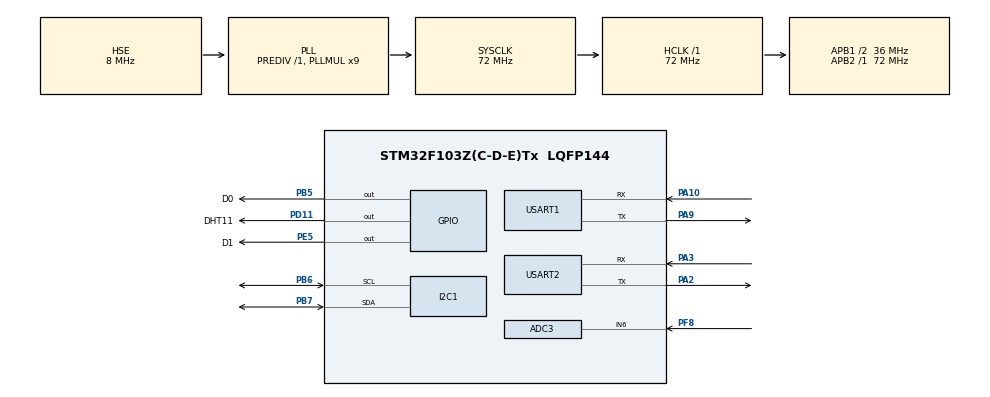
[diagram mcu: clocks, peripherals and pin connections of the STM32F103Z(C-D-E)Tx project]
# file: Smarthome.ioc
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ADC3.Channel-0\#ChannelRegularConversion=ADC_CHANNEL_6
ADC3.NbrOfConversionFlag=1
ADC3.Rank-0\#ChannelRegularConversion=1
ADC3.SamplingTime-0\#ChannelRegularConversion=ADC_SAMPLETIME_1CYCLE_5
Mcu.Family=STM32F1
Mcu.Name=STM32F103Z(C-D-E)Tx
Mcu.Package=LQFP144
NVIC.PriorityGroup=NVIC_PRIORITYGROUP_4
NVIC.USART1_IRQn=true\:0\:0\:false\:false\:true\:true\:true
NVIC.USART2_IRQn=true\:0\:0\:false\:false\:true\:true\:true
OSC_IN.Mode=HSE-External-Oscillator
OSC_IN.Signal=RCC_OSC_IN
OSC_OUT.Mode=HSE-External-Oscillator
OSC_OUT.Signal=RCC_OSC_OUT
PA10.Mode=Asynchronous
PA10.Signal=USART1_RX
PA13.Mode=Serial_Wire
PA13.Signal=SYS_JTMS-SWDIO
PA14.Mode=Serial_Wire
PA14.Signal=SYS_JTCK-SWCLK
PA2.Mode=Asynchronous
PA2.Signal=USART2_TX
PA3.Mode=Asynchronous
PA3.Signal=USART2_RX
PA9.Mode=Asynchronous
PA9.Signal=USART1_TX
PB5.GPIO_Label=D0
PB5.GPIO_PuPd=GPIO_NOPULL
PB5.GPIO_Speed=GPIO_SPEED_FREQ_LOW
PB5.Signal=GPIO_Output
PB6.Mode=I2C
PB6.Signal=I2C1_SCL
PB7.Mode=I2C
PB7.Signal=I2C1_SDA
PD11.GPIO_Label=DHT11
PD11.GPIO_PuPd=GPIO_PULLUP
PD11.GPIO_Speed=GPIO_SPEED_FREQ_HIGH
PD11.Signal=GPIO_Output
PE5.GPIO_Label=D1
PE5.GPIO_PuPd=GPIO_NOPULL
PE5.GPIO_Speed=GPIO_SPEED_FREQ_LOW
PE5.Signal=GPIO_Output
PF8.Mode=IN6
PF8.Signal=ADC3_IN6
ProjectManager.HeapSize=0x200
ProjectManager.StackSize=0x400
ProjectManager.TargetToolchain=MDK-ARM V5.32
RCC.ADCPresc=RCC_ADCPCLK2_DIV6
RCC.AHBFreq_Value=72000000
RCC.APB1CLKDivider=RCC_HCLK_DIV2
RCC.APB1Freq_Value=36000000
RCC.APB1TimFreq_Value=72000000
RCC.APB2Freq_Value=72000000
RCC.APB2TimFreq_Value=72000000
RCC.HCLKFreq_Value=72000000
RCC.PLLMUL=RCC_PLL_MUL9
RCC.PLLSourceVirtual=RCC_PLLSOURCE_HSE
RCC.SYSCLKFreq_VALUE=72000000
RCC.SYSCLKSource=RCC_SYSCLKSOURCE_PLLCLK
RCC.USBFreq_Value=72000000
TIM6.Prescaler=72-1
USART1.VirtualMode=VM_ASYNC
USART2.VirtualMode=VM_ASYNC
VP_TIM6_VS_ClockSourceINT.Mode=Enable_Timer
board=custom

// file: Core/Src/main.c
/* USER CODE BEGIN Header */
/**
  ******************************************************************************
  * @file           : main.c
  * @brief          : Main program body
  ******************************************************************************
  * @attention
  *
  * <h2><center>&copy; Copyright (c) 2022 STMicroelectronics.
  * All rights reserved.</center></h2>
  *
  * This software component is licensed by ST under BSD 3-Clause license,
  * the "License"; You may not use this file except in compliance with the
  * License. You may obtain a copy of the License at:
  *                        opensource.org/licenses/BSD-3-Clause
  *
  ******************************************************************************
  */
/* USER CODE END Header */
#include "main.h"
#include "adc.h"
#include "i2c.h"
#include "tim.h"
#include "usart.h"
#include "gpio.h"

/* USER CODE BEGIN Includes */
#include "stdio.h"

#include "esp8266_at.h"    //ESP8266 AT指令
#include "esp8266_mqtt.h"   //MQTT协议

#include "dht11.h"

#include "oled.h"

#include "lsens.h"

/* USER CODE END Includes */

/* USER CODE BEGIN PD */
#define WIFI_NAME "OPPOA3"
#define WIFI_PASSWD "12345678"

#define MQTT_BROKERADDRESS "a1Y76siqtl8.iot-as-mqtt.cn-shanghai.aliyuncs.com"
#define MQTT_CLIENTID "1234|securemode=3,signmethod=hmacsha1|"
#define MQTT_USARNAME "ship&a1Y76siqtl8"
#define MQTT_PASSWD "99720267EBEB0147B6428348B420B4ABB5B1C75B"

#define MQTT_SUBSCRIBE_TOPIC "/sys/a1Y76siqtl8/ship/thing/service/property/set"

#define	MQTT_PUBLISH_TOPIC "/sys/a1Y76siqtl8/ship/thing/event/property/post"
#define MQTT_EVENT_YOPIC1 "/sys/a1Y76siqtl8/ship/thing/event/HighwaterEvent/post"
#define MQTT_EVENT_YOPIC2 "/sys/a1Y76siqtl8/ship/thing/event/Highmuddy/post"
/* USER CODE END PD */

/* USER CODE BEGIN PM */
uint8_t aRxBuffer; //接收中断缓冲
uint8_t cAlmStr[] = "数据溢出(大于256)\r\n";
uint8_t a[8];

char mqtt_message[300];	//MQTT的上报消息缓存

char lsens[10];
char temp[20];
char humi[20];
char win[30];
char light[10];

/* USER CODE END PM */

void SystemClock_Config(void);
/* USER CODE BEGIN PFP */
extern uint8_t FindStr(char* dest,char* src,uint16_t retry_nms);
/* USER CODE END PFP */

int main(void)
{
  /* USER CODE BEGIN 1 */
  uint16_t temperature;
  uint16_t humidity;

	uint8_t adcx;
  /* USER CODE END 1 */

  /* MCU Configuration--------------------------------------------------------*/

  /* Reset of all peripherals, Initializes the Flash interface and the Systick. */
  HAL_Init();

  /* Configure the system clock */
  SystemClock_Config();

  /* Initialize all configured peripherals */
  MX_GPIO_Init();
  MX_USART1_UART_Init();
  MX_USART2_UART_Init();
  MX_TIM6_Init();
  MX_I2C1_Init();
  MX_ADC3_Init();
  /* USER CODE BEGIN 2 */
  HAL_UART_Receive_IT(&huart2, (uint8_t *)&aRxBuffer, 1);   //再开启接收中断（重要）

	printf("ok\r\n");

  oled_init();
	oled_show_string(24,0,"www",2);
	oled_show_string(0,0,"www",1);

  Lsens_Init(); 						//初始化光敏传感器

	while(DHT11_Init()){
	printf("DHT11 Checked failed!!!\r\n");
	  HAL_Delay(500);
   }
  printf("DHT11 Checked Sucess!!!\r\n");

	while(!ESP8266_Init())      //ESP8266初始化
	{

	}
	while(!ESP8266_ConnectAP(WIFI_NAME,WIFI_PASSWD))             //连接WiFi
	{
	}
  while(ESP8266_ConnectServer("TCP",MQTT_BROKERADDRESS,1883)==0)      //连接阿里云服务器
	{

	}
	MQTT_Connect(MQTT_CLIENTID, MQTT_USARNAME, MQTT_PASSWD);              //连接设备
	while(MQTT_SubscribeTopic(MQTT_SUBSCRIBE_TOPIC,0,1) == 0)             //发送话题
	{

	}
  /* USER CODE END 2 */

  /* Infinite loop */
  while (1)
  {

    /* USER CODE BEGIN 3 */
		HAL_GPIO_TogglePin(D1_GPIO_Port, D1_Pin);
		HAL_Delay(1000);
		DHT11_Read_Data(&temperature,&humidity);
		printf("temperature:%d.%d\r\n",temperature>>8,temperature&0xff);
	  printf("humidity:%d.%d\r\n",humidity>>8,humidity&0xff);
		adcx=Lsens_Get_Val();
		printf("lsens:%d\r\n",adcx);
		oled_full(0x00);
		sprintf(lsens,"lsens:%d",adcx);
		sprintf(temp,"temp:%d.%d",temperature>>8,temperature&0xff);
		sprintf(humi,"humi:%d.%d",humidity>>8,humidity&0xff);
		sprintf(win,"win:%d light:%d",1,0);

		oled_show_string(3,0,lsens,2);//显示ADC的值
		oled_show_string(3,2,temp,2);
		oled_show_string(3,4,humi,2);
		oled_show_string(3,6,win,2);

		sprintf(mqtt_message,"{\"method\":\"thing.event.property.post\",\"id\":\"0\",\"params\":{\"Atmosphere\":%d},\"version\":\"1.0.0\"}",20);
    MQTT_PublishData(MQTT_PUBLISH_TOPIC,mqtt_message,0);
//		printf("test\r\n");
  }
  /* USER CODE END 3 */
}

void SystemClock_Config(void)
{
  RCC_OscInitTypeDef RCC_OscInitStruct = {0};
  RCC_ClkInitTypeDef RCC_ClkInitStruct = {0};
  RCC_PeriphCLKInitTypeDef PeriphClkInit = {0};

  /** Initializes the RCC Oscillators according to the specified parameters
  * in the RCC_OscInitTypeDef structure.
  */
  RCC_OscInitStruct.OscillatorType = RCC_OSCILLATORTYPE_HSE;
  RCC_OscInitStruct.HSEState = RCC_HSE_ON;
  RCC_OscInitStruct.HSEPredivValue = RCC_HSE_PREDIV_DIV1;
  RCC_OscInitStruct.HSIState = RCC_HSI_ON;
  RCC_OscInitStruct.PLL.PLLState = RCC_PLL_ON;
  RCC_OscInitStruct.PLL.PLLSource = RCC_PLLSOURCE_HSE;
  RCC_OscInitStruct.PLL.PLLMUL = RCC_PLL_MUL9;
  if (HAL_RCC_OscConfig(&RCC_OscInitStruct) != HAL_OK)
  {
    Error_Handler();
  }
  /** Initializes the CPU, AHB and APB buses clocks
  */
  RCC_ClkInitStruct.ClockType = RCC_CLOCKTYPE_HCLK|RCC_CLOCKTYPE_SYSCLK
                              |RCC_CLOCKTYPE_PCLK1|RCC_CLOCKTYPE_PCLK2;
  RCC_ClkInitStruct.SYSCLKSource = RCC_SYSCLKSOURCE_PLLCLK;
  RCC_ClkInitStruct.AHBCLKDivider = RCC_SYSCLK_DIV1;
  RCC_ClkInitStruct.APB1CLKDivider = RCC_HCLK_DIV2;
  RCC_ClkInitStruct.APB2CLKDivider = RCC_HCLK_DIV1;

  if (HAL_RCC_ClockConfig(&RCC_ClkInitStruct, FLASH_LATENCY_2) != HAL_OK)
  {
    Error_Handler();
  }
  PeriphClkInit.PeriphClockSelection = RCC_PERIPHCLK_ADC;
  PeriphClkInit.AdcClockSelection = RCC_ADCPCLK2_DIV6;
  if (HAL_RCCEx_PeriphCLKConfig(&PeriphClkInit) != HAL_OK)
  {
    Error_Handler();
  }
}

/* USER CODE BEGIN 4 */
//USART2 ES8266驱动串口接收中断处理函数
void HAL_UART_RxCpltCallback(UART_HandleTypeDef *huart)
{
	if(huart->Instance == USART2)	// 判断是由哪个串口触发的中断
	{
		//将接收到的数据放入接收usart1接收数组
		usart2_rxbuf[usart2_rxcounter] = usart2_rxone[0];
		usart2_rxcounter++;	//接收数量＋1

		//重新使能串口1接收中断
		HAL_UART_Receive_IT(&huart2,usart2_rxone,1);
	}
}

//void STM32DHT11_StatusReport(int i)
//{
//	//获取温湿度信息
//	//uint8_t temperature=1;
//
//	sprintf(mqtt_message,"{\"method\":\"thing.event.property.post\",\"id\":\"0\",\"params\":{\"Elevator\":%d},\"version\":\"1.0.0\"}",i);
//

//	MQTT_PublishData(MQTT_PUBLISH_TOPIC,mqtt_message,0);
//}

////处理MQTT下发的消息
//int deal_MQTT_message(uint8_t* buf,uint16_t len)
//{
////	if(FindStr((char*) usart2_rxbuf,"nightLight",200)!=0)
////	{
////		if(FindStr((char*)usart2_rxbuf,":1",200)!=0)
////		 {
////		 		HAL_GPIO_WritePin(GPIOA,GPIO_PIN_6,GPIO_PIN_RESET);
////        return 1;
////		 }
////		 else
////		 {
////		 		HAL_GPIO_WritePin(GPIOA,GPIO_PIN_6,GPIO_PIN_SET);
////		 }
////	 }
//   if(FindStr((char*) usart2_rxbuf,"begin",200)!=0)
//	 {
//	   HAL_GPIO_WritePin(GPIOA,GPIO_PIN_6,GPIO_PIN_RESET);
//		 return 1;
//	 }
//   if(FindStr((char*) usart2_rxbuf,"end",200)!=0)
//	 {
//	   HAL_GPIO_WritePin(GPIOA,GPIO_PIN_6,GPIO_PIN_SET);
//		 return 2;
//	 }
//   memset(usart2_rxbuf,0,sizeof(usart2_rxbuf)); //清空接收缓冲
//	 return 0;

//}
/* USER CODE END 4 */

void Error_Handler(void)
{
  __disable_irq();
  while (1)
  {
  }
}

/************************ (C) COPYRIGHT STMicroelectronics *****END OF FILE****/
